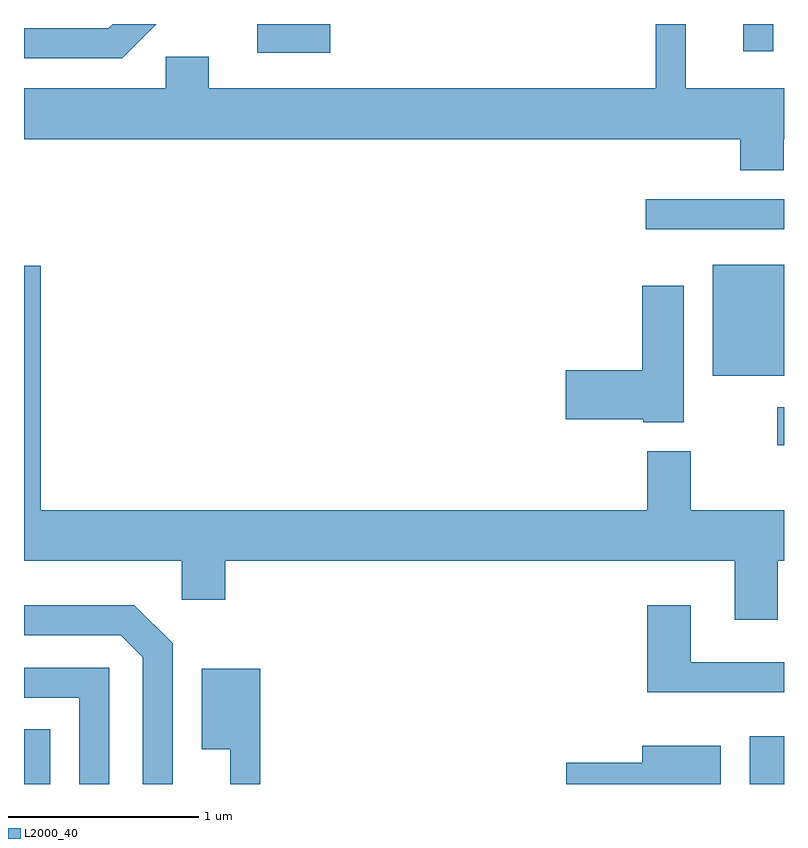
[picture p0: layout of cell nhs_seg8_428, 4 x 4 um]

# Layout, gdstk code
import gdstk
lib = gdstk.Library(unit=1e-6, precision=1e-09)
def R(c, l, rs):  # rectangles x0, y0, x1, y1
    for r in rs: c.add(gdstk.rectangle(r[:2], r[2:], *l))
def P(c, l, *ps):  # polygons
    for p in ps: c.add(gdstk.Polygon(p, *l))
L2000_40 = (2000, 40)

nhs_seg8_428 = lib.new_cell('nhs_seg8_428')
R(nhs_seg8_428, L2000_40, [(197.611,1846.342,197.749,1846.629), (201.431,1846.342,201.611,1846.594), (201.576,1848.126,201.611,1848.324), (201.236,1848.491,201.611,1849.074), (200.883,1849.261,201.611,1849.419), (198.838,1850.191,199.224,1850.342), (201.396,1850.198,201.554,1850.342)])
P(nhs_seg8_428, L2000_40, [(201.609,1849.736),(201.611,1849.736),(201.611,1850.004),(201.094,1850.004),(201.094,1850.342),(200.936,1850.342),(200.936,1850.004),(198.584,1850.004),(198.584,1850.169),(198.356,1850.169),(198.356,1850.004),(197.611,1850.004),(197.611,1849.736),(201.381,1849.736),(201.381,1849.571),(201.609,1849.571)],
  [(198.307,1850.342),(198.077,1850.342),(198.054,1850.319),(197.611,1850.319),(197.611,1850.161),(198.127,1850.161)],
  [(201.579,1847.516),(201.611,1847.516),(201.611,1847.784),(201.119,1847.784),(201.119,1848.094),(200.891,1848.094),(200.891,1847.784),(197.699,1847.784),(197.699,1849.069),(197.611,1849.069),(197.611,1847.516),(198.441,1847.516),(198.441,1847.311),(198.669,1847.311),(198.669,1847.516),(201.351,1847.516),(201.351,1847.206),(201.579,1847.206)],
  [(201.084,1848.964),(200.866,1848.964),(200.866,1848.519),(200.461,1848.519),(200.461,1848.261),(200.87,1848.261),(200.87,1848.246),(201.084,1848.246)],
  [(198.394,1847.082),(198.192,1847.284),(197.611,1847.284),(197.611,1847.126),(198.119,1847.126),(198.236,1847.009),(198.236,1846.342),(198.394,1846.342)],
  [(201.611,1846.984),(201.119,1846.984),(201.119,1847.284),(200.891,1847.284),(200.891,1846.826),(201.611,1846.826)],
  [(198.059,1846.954),(197.611,1846.954),(197.611,1846.796),(197.901,1846.796),(197.901,1846.342),(198.059,1846.342)],
  [(198.854,1846.949),(198.546,1846.949),(198.546,1846.526),(198.696,1846.526),(198.696,1846.342),(198.854,1846.342)],
  [(201.279,1846.544),(200.866,1846.544),(200.866,1846.454),(200.466,1846.454),(200.466,1846.342),(201.279,1846.342)])

lib.write_gds('nhs_seg8_428.gds')
